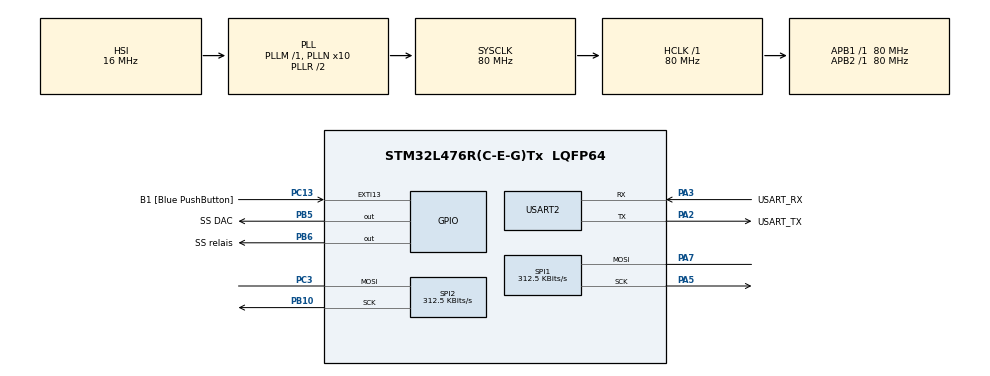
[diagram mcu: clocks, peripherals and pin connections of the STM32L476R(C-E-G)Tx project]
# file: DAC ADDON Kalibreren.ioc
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Dma.Request0=USART2_RX
Dma.USART2_RX.0.Direction=DMA_PERIPH_TO_MEMORY
Dma.USART2_RX.0.Instance=DMA1_Channel6
Dma.USART2_RX.0.MemDataAlignment=DMA_MDATAALIGN_BYTE
Dma.USART2_RX.0.MemInc=DMA_MINC_ENABLE
Dma.USART2_RX.0.Mode=DMA_NORMAL
Dma.USART2_RX.0.PeriphDataAlignment=DMA_PDATAALIGN_BYTE
Dma.USART2_RX.0.PeriphInc=DMA_PINC_DISABLE
Dma.USART2_RX.0.Priority=DMA_PRIORITY_LOW
Mcu.Family=STM32L4
Mcu.Name=STM32L476R(C-E-G)Tx
Mcu.Package=LQFP64
NVIC.DMA1_Channel6_IRQn=true\:0\:0\:false\:false\:true\:false\:true\:true
NVIC.PriorityGroup=NVIC_PRIORITYGROUP_4
NVIC.USART2_IRQn=true\:0\:0\:false\:false\:true\:true\:true\:true
PA13\ (JTMS-SWDIO).GPIO_Label=TMS
PA13\ (JTMS-SWDIO).Mode=Serial_Wire
PA13\ (JTMS-SWDIO).Signal=SYS_JTMS-SWDIO
PA14\ (JTCK-SWCLK).GPIO_Label=TCK
PA14\ (JTCK-SWCLK).Mode=Serial_Wire
PA14\ (JTCK-SWCLK).Signal=SYS_JTCK-SWCLK
PA2.GPIO_Label=USART_TX
PA2.GPIO_Mode=GPIO_MODE_AF_PP
PA2.GPIO_PuPd=GPIO_NOPULL
PA2.GPIO_Speed=GPIO_SPEED_FREQ_VERY_HIGH
PA2.Mode=Asynchronous
PA2.Signal=USART2_TX
PA3.GPIO_Label=USART_RX
PA3.GPIO_Mode=GPIO_MODE_AF_PP
PA3.GPIO_PuPd=GPIO_NOPULL
PA3.GPIO_Speed=GPIO_SPEED_FREQ_VERY_HIGH
PA3.Mode=Asynchronous
PA3.Signal=USART2_RX
PA5.Mode=Simplex_Bidirectional_Master
PA5.Signal=SPI1_SCK
PA7.Mode=Simplex_Bidirectional_Master
PA7.Signal=SPI1_MOSI
PB10.Mode=Simplex_Bidirectional_Master
PB10.Signal=SPI2_SCK
PB3\ (JTDO-TRACESWO).GPIO_Label=SWO
PB3\ (JTDO-TRACESWO).Signal=SYS_JTDO-SWO
PB5.GPIO_Label=SS DAC
PB5.PinState=GPIO_PIN_SET
PB5.Signal=GPIO_Output
PB6.GPIO_Label=SS relais
PB6.PinState=GPIO_PIN_SET
PB6.Signal=GPIO_Output
PC13.GPIO_Label=B1 [Blue PushButton]
PC13.GPIO_ModeDefaultEXTI=GPIO_MODE_IT_FALLING
PC13.GPIO_PuPd=GPIO_NOPULL
PC13.Signal=GPXTI13
PC14-OSC32_IN\ (PC14).Mode=LSE-External-Oscillator
PC14-OSC32_IN\ (PC14).Signal=RCC_OSC32_IN
PC15-OSC32_OUT\ (PC15).Mode=LSE-External-Oscillator
PC15-OSC32_OUT\ (PC15).Signal=RCC_OSC32_OUT
PC3.Mode=Simplex_Bidirectional_Master
PC3.Signal=SPI2_MOSI
PH0-OSC_IN\ (PH0).Signal=RCC_OSC_IN
PH1-OSC_OUT\ (PH1).Signal=RCC_OSC_OUT
ProjectManager.HeapSize=0x200
ProjectManager.StackSize=0x400
ProjectManager.TargetToolchain=STM32CubeIDE
RCC.ADCFreq_Value=64000000
RCC.AHBFreq_Value=80000000
RCC.APB1Freq_Value=80000000
RCC.APB1TimFreq_Value=80000000
RCC.APB2Freq_Value=80000000
RCC.APB2TimFreq_Value=80000000
RCC.CortexFreq_Value=80000000
RCC.HCLKFreq_Value=80000000
RCC.HSE_VALUE=8000000
RCC.HSI_VALUE=16000000
RCC.MSI_VALUE=4000000
RCC.PLLN=10
RCC.PLLSourceVirtual=RCC_PLLSOURCE_HSI
RCC.PREFETCH_ENABLE=1
RCC.SYSCLKFreq_VALUE=80000000
RCC.SYSCLKSource=RCC_SYSCLKSOURCE_PLLCLK
RCC.USBFreq_Value=64000000
RCC.VCOOutputFreq_Value=160000000
SPI1.BaudRatePrescaler=SPI_BAUDRATEPRESCALER_256
SPI1.CalculateBaudRate=312.5 KBits/s
SPI1.DataSize=SPI_DATASIZE_8BIT
SPI1.Direction=SPI_DIRECTION_1LINE
SPI1.Mode=SPI_MODE_MASTER
SPI1.VirtualType=VM_MASTER
SPI2.BaudRatePrescaler=SPI_BAUDRATEPRESCALER_256
SPI2.CLKPolarity=SPI_POLARITY_HIGH
SPI2.CalculateBaudRate=312.5 KBits/s
SPI2.DataSize=SPI_DATASIZE_8BIT
SPI2.Direction=SPI_DIRECTION_1LINE
SPI2.Mode=SPI_MODE_MASTER
SPI2.VirtualType=VM_MASTER
USART2.VirtualMode-Asynchronous=VM_ASYNC
board=NUCLEO-L476RG

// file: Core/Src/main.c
/* USER CODE BEGIN Header */
/**
  ******************************************************************************
  * @file           : main.c
  * @brief          : Main program body
  ******************************************************************************
  * @attention
  *
  * Copyright (c) 2024 STMicroelectronics.
  * All rights reserved.
  *
  * This software is licensed under terms that can be found in the LICENSE file
  * in the root directory of this software component.
  * If no LICENSE file comes with this software, it is provided AS-IS.
  *
  ******************************************************************************
  */
/* USER CODE END Header */
#include "main.h"

/* USER CODE BEGIN Includes */
#include "string.h"
#include "math.h"
/* USER CODE END Includes */

/* USER CODE BEGIN PD */
#define MAX4820_CS_PIN    GPIO_PIN_6   // De GPIO pin die verbonden is met CS
#define MAX4820_CS_PORT   GPIOB        // De GPIO poort die verbonden is met CS

#define DAC_SS_Pin GPIO_PIN_5
#define DAC_SS_Port GPIOB

HAL_StatusTypeDef status;

//Registers adres definitie van de DAC80501
#define ADDR_NOOP_register 0x00 //No operation, Hex 0x00
#define ADDR_DEVID_register 0x01 //Device identification, Hex 0x01
#define ADDR_SYNC_register 0x02 //Synchronisation, Hex 0x02
#define ADDR_CONFIG_register 0x03 //Configuration, Hex 0x03
#define ADDR_GAIN_register 0x04 //Gain, Hex 0x04
#define ADDR_TRIGGER_register 0x05 //Trigger, Hex 0x05
#define ADDR_STATUS_register 0x07 //Status, Hex 0x07
#define ADDR_DAC_DATA_register 0x08 //Digital-to-analog converter, Hex 0x08

//Register Data van de DAC80501
#define DATA_NOOP 0x0000
	//#define DATA_DEVID_register 0b0000 0001 0001 0101, kan worden uitgelezen
#define DATA_SYNC_register 0x0000
//#define DATA_CONFIG_register 0x0101 //disabling internal reference & power-down mode
//#define DATA_GAIN_register 0x00 //referencespanning delen door 1 & gain op 1 zetten
#define DATA_TRIGGER_register 0x000A //dit reset de dac  & zet de dac in asynchronous mode(default)
	//#define DATA_STATUS_register 0x01 geeft aan of DAC wordt uitgeschakeld, 0x00 geeft aan dat dac is ingeschakeld
#define DAC80501_SPI_TIMEOUT 100

//#define DATA_CONFIG_register 0b0000000100000000 //disabling internal reference & power-down mode
//#define DATA_GAIN_register 0x00 //referencespanning delen door 1 & gain op 1 zetten
#define DATA_CONFIG_register 0x0000 //enabling internal reference & dis power-down mode
#define DATA_GAIN_register 0x0001 //referencespanning delen door 1 & gain op 2 zetten

#define RxBuf_SIZE 10 //16 bits geeft waarde van 0 tm 65535, dus maximaal 5 decimalen
#define MainBuf_SIZE 10
HAL_StatusTypeDef status;
/* USER CODE END PD */

SPI_HandleTypeDef hspi1;
SPI_HandleTypeDef hspi2;

UART_HandleTypeDef huart2;
DMA_HandleTypeDef hdma_usart2_rx;

/* USER CODE BEGIN PV */
uint8_t RxBuf[RxBuf_SIZE];
uint8_t MainBuf[MainBuf_SIZE];
char TxBuf[RxBuf_SIZE];
char String[] = "12345";
uint32_t convertedString;
uint16_t calData16bits;
uint32_t calData32bits;
uint8_t Select5V60V;
/* USER CODE END PV */

void SystemClock_Config(void);
static void MX_GPIO_Init(void);
static void MX_DMA_Init(void);
static void MX_USART2_UART_Init(void);
static void MX_SPI1_Init(void);
static void MX_SPI2_Init(void);
/* USER CODE BEGIN PFP */
void MAX4820_Select(void)
{
    HAL_GPIO_WritePin(MAX4820_CS_PORT, MAX4820_CS_PIN, GPIO_PIN_RESET); // CS low
}
void MAX4820_Deselect(void)
{
    HAL_GPIO_WritePin(MAX4820_CS_PORT, MAX4820_CS_PIN, GPIO_PIN_SET);   // CS high
}

void MAX4820_SendData(uint8_t data)
{
	uint8_t txData[1];
	txData[0] = data;

    MAX4820_Select();  // Activeren van CS
    HAL_SPI_Transmit(&hspi1, txData, 1, HAL_MAX_DELAY);  // Verzenden van 8 bits data
    MAX4820_Deselect();  // Deactiveren van CS
}

void MAX4820_60V_pos(void)
{
	MAX4820_SendData(0b00000101); //dec:5
//	HAL_Delay(500);
}
void MAX4820_60V_neg(void)
{
	MAX4820_SendData(0b00001001); //dec: 9
//	HAL_Delay(500);
}
void MAX4820_5V_pos(void)
{
	MAX4820_SendData(0b00000110); //dec: 6
}
void MAX4820_5V_neg(void)
{
	MAX4820_SendData(0b00001010); //dec: 10
}
HAL_StatusTypeDef DAC80501DataVoltage5V(uint16_t voltage_mV)  //data(getal) moet in mV zijn van 0 tot 5000mV
{

	if(convertedString == 100002){
				 MAX4820_5V_pos();
			} else if(convertedString == 100004){
				MAX4820_5V_neg();
			}
	//Zorgen dat spanning tussen 0-5000mV zit
	if(voltage_mV > 5000){ //Houdt de spanning onder de 5000mV
		voltage_mV = 0;
	}
	if(voltage_mV < 0){ //Houdt de spanning boven de 0mV. Werkt niet goed vanwerge unsigned naar signed conversion bij functie aanroep
		voltage_mV = 0;
	}

    HAL_StatusTypeDef status;
    uint16_t convertedDataVoltage = (uint16_t)(((uint32_t)voltage_mV * 65535) / 5000); // 0-5000mV omzetten naar 16 bits waarde die naar de dac gestuurd kan worden. gebruik gehele getallen
    uint8_t txData[3];

    // Stel het adres en de data in voor het trigger-register van de DAC80501
    txData[0] = ADDR_DAC_DATA_register;                     // Registeradres
    txData[1] = (convertedDataVoltage >> 8 ) & 0xFF;      // MSB van de 16-bits data
    txData[2] = (convertedDataVoltage & 0xFF);              // LSB van de 16-bits data

    // Zet de Chip Select (CS/SS) lijn laag om SPI-communicatie te starten
    HAL_GPIO_WritePin(DAC_SS_Port, DAC_SS_Pin, GPIO_PIN_RESET);

    // Verzend de 24-bits data via SPI
    status = HAL_SPI_Transmit(&hspi2, txData, 3, DAC80501_SPI_TIMEOUT);

    // Zet de Chip Select (CS/SS) lijn hoog om SPI-communicatie te beëindigen
    HAL_GPIO_WritePin(DAC_SS_Port, DAC_SS_Pin, GPIO_PIN_SET);

    // Retourneer de status van de SPI-communicatie (HAL_OK of foutcode)
    return status;
}

HAL_StatusTypeDef DAC80501DataVoltage60V(uint16_t voltage_mV)  //data(getal) moet in mV zijn van 0 tot 60000mV
{

	//Zorgen dat spanning tussen 0-5000mV zit
	if(voltage_mV > 60000){ //Houdt de spanning onder de 5000mV
		voltage_mV = 60000;
	}
	if(voltage_mV < 0){ //Houdt de spanning boven de 0mV. Werkt niet goed vanwerge unsigned naar signed conversion bij functie aanroep
		voltage_mV = 0;
	}

    HAL_StatusTypeDef status;
    uint16_t convertedDataVoltage = (uint16_t)(((uint32_t)voltage_mV * 65535) / (5000*12)); // 0-60000mV omzetten naar 16 bits waarde die naar de dac gestuurd kan worden. gebruik gehele getallen
    uint8_t txData[3];

    // Stel het adres en de data in voor het trigger-register van de DAC80501
    txData[0] = ADDR_DAC_DATA_register;                     // Registeradres
    txData[1] = (convertedDataVoltage >> 8 ) & 0xFF;      // MSB van de 16-bits data
    txData[2] = (convertedDataVoltage & 0xFF);              // LSB van de 16-bits data

    // Zet de Chip Select (CS/SS) lijn laag om SPI-communicatie te starten
    HAL_GPIO_WritePin(DAC_SS_Port, DAC_SS_Pin, GPIO_PIN_RESET);

    // Verzend de 24-bits data via SPI
    status = HAL_SPI_Transmit(&hspi2, txData, 3, DAC80501_SPI_TIMEOUT);

    // Zet de Chip Select (CS/SS) lijn hoog om SPI-communicatie te beëindigen
    HAL_GPIO_WritePin(DAC_SS_Port, DAC_SS_Pin, GPIO_PIN_SET);

    // Retourneer de status van de SPI-communicatie (HAL_OK of foutcode)
    return status;
}

HAL_StatusTypeDef CalibratedDAC80501DataVoltage60V(uint32_t voltage_mV)  //data(getal) moet in mV zijn van 0 tot 60000mV
{
	if(convertedString == 100001){
			 MAX4820_60V_pos();
		} else if(convertedString == 100003){
			MAX4820_60V_neg();
		}
	//Zorgen dat spanning tussen 0-60000mV zit
	if(voltage_mV > 60000){ //Houdt de spanning onder de 5000mV
		voltage_mV = 0;
	}
	if(voltage_mV < 0){ //Houdt de spanning boven de 0mV. Werkt niet goed vanwerge unsigned naar signed conversion bij functie aanroep
		voltage_mV = 0;
	}

    HAL_StatusTypeDef status;
    uint16_t convertedDataVoltage = (uint16_t)(((uint32_t)voltage_mV * 65535) / (5000*12)); // 0-60000mV omzetten naar 16 bits waarde die naar de dac gestuurd kan worden. gebruik gehele getallen

    calData32bits = (uint32_t)(float)(( 0.9205486)*convertedDataVoltage );
    if(calData32bits > 65535){ //Houdt de spanning onder de 5000mV
    	calData16bits = 65535;
          } else {
        	  calData16bits = calData32bits;
          }
    uint8_t txData[3];

//    0.9205486*x - 0.8901536

    // Stel het adres en de data in voor het trigger-register van de DAC80501
    txData[0] = ADDR_DAC_DATA_register;                     // Registeradres
    txData[1] = (calData16bits >> 8 ) & 0xFF;      // MSB van de 16-bits data
    txData[2] = (calData16bits & 0xFF);              // LSB van de 16-bits data

    // Zet de Chip Select (CS/SS) lijn laag om SPI-communicatie te starten
    HAL_GPIO_WritePin(DAC_SS_Port, DAC_SS_Pin, GPIO_PIN_RESET);

    // Verzend de 24-bits data via SPI
    status = HAL_SPI_Transmit(&hspi2, txData, 3, DAC80501_SPI_TIMEOUT);

    // Zet de Chip Select (CS/SS) lijn hoog om SPI-communicatie te beëindigen
    HAL_GPIO_WritePin(DAC_SS_Port, DAC_SS_Pin, GPIO_PIN_SET);

    // Retourneer de status van de SPI-communicatie (HAL_OK of foutcode)
    return status;
}
/* USER CODE END PFP */

/* USER CODE BEGIN 0 */
void HAL_UARTEx_RxEventCallback(UART_HandleTypeDef *huart, uint16_t Size){

	if(huart->Instance == USART2){
		memcpy(MainBuf, RxBuf, Size);
		HAL_UARTEx_ReceiveToIdle_DMA(&huart2, RxBuf, RxBuf_SIZE);
		__HAL_DMA_DISABLE_IT(&hdma_usart2_rx, DMA_IT_HT);
	}

	HAL_UART_Transmit(&huart2, MainBuf, Size, 1000);
	convertedString = (uint32_t)atoi((char* )RxBuf);

	//DAC80501DataVoltage60V(convertedString);
	if(convertedString == 100001 || convertedString == 100003) { Select5V60V = 1;}
	if(Select5V60V == 1){CalibratedDAC80501DataVoltage60V(convertedString);}
//	if(convertedString == 100001 || convertedString == 100003) { Select5V60V = 1;}
//	if(Select5V60V == 1){DAC80501DataVoltage60V(convertedString);}

	if(convertedString == 100002 || convertedString == 100004) { Select5V60V = 0;}
	if(Select5V60V == 0){DAC80501DataVoltage5V(convertedString);(convertedString);}

	//DAC80501DataVoltage5V(convertedString);
	memset(RxBuf,0,strlen(RxBuf));

}

/* USER CODE END 0 */

int main(void)
{

  /* MCU Configuration--------------------------------------------------------*/

  /* Reset of all peripherals, Initializes the Flash interface and the Systick. */
  HAL_Init();

  /* Configure the system clock */
  SystemClock_Config();

  /* Initialize all configured peripherals */
  MX_GPIO_Init();
  MX_DMA_Init();
  MX_USART2_UART_Init();
  MX_SPI1_Init();
  MX_SPI2_Init();
  /* USER CODE BEGIN 2 */
  HAL_UARTEx_ReceiveToIdle_DMA(&huart2, RxBuf, RxBuf_SIZE);
    __HAL_DMA_DISABLE_IT(&hdma_usart2_rx, DMA_IT_HT);

//    MAX4820_60V_pos();
//    MAX4820_5V_pos();
//  MAX4820_SendData(0b00000000);
  /* USER CODE END 2 */

  /* Infinite loop */
  while (1)
  {
//	  MAX4820_60V_pos();
//	  HAL_Delay(5000);
//	  MAX4820_60V_neg();
//	  HAL_Delay(5000);
  }
}

void SystemClock_Config(void)
{
  RCC_OscInitTypeDef RCC_OscInitStruct = {0};
  RCC_ClkInitTypeDef RCC_ClkInitStruct = {0};

  /** Configure the main internal regulator output voltage
  */
  if (HAL_PWREx_ControlVoltageScaling(PWR_REGULATOR_VOLTAGE_SCALE1) != HAL_OK)
  {
    Error_Handler();
  }

  /** Initializes the RCC Oscillators according to the specified parameters
  * in the RCC_OscInitTypeDef structure.
  */
  RCC_OscInitStruct.OscillatorType = RCC_OSCILLATORTYPE_HSI;
  RCC_OscInitStruct.HSIState = RCC_HSI_ON;
  RCC_OscInitStruct.HSICalibrationValue = RCC_HSICALIBRATION_DEFAULT;
  RCC_OscInitStruct.PLL.PLLState = RCC_PLL_ON;
  RCC_OscInitStruct.PLL.PLLSource = RCC_PLLSOURCE_HSI;
  RCC_OscInitStruct.PLL.PLLM = 1;
  RCC_OscInitStruct.PLL.PLLN = 10;
  RCC_OscInitStruct.PLL.PLLP = RCC_PLLP_DIV7;
  RCC_OscInitStruct.PLL.PLLQ = RCC_PLLQ_DIV2;
  RCC_OscInitStruct.PLL.PLLR = RCC_PLLR_DIV2;
  if (HAL_RCC_OscConfig(&RCC_OscInitStruct) != HAL_OK)
  {
    Error_Handler();
  }

  /** Initializes the CPU, AHB and APB buses clocks
  */
  RCC_ClkInitStruct.ClockType = RCC_CLOCKTYPE_HCLK|RCC_CLOCKTYPE_SYSCLK
                              |RCC_CLOCKTYPE_PCLK1|RCC_CLOCKTYPE_PCLK2;
  RCC_ClkInitStruct.SYSCLKSource = RCC_SYSCLKSOURCE_PLLCLK;
  RCC_ClkInitStruct.AHBCLKDivider = RCC_SYSCLK_DIV1;
  RCC_ClkInitStruct.APB1CLKDivider = RCC_HCLK_DIV1;
  RCC_ClkInitStruct.APB2CLKDivider = RCC_HCLK_DIV1;

  if (HAL_RCC_ClockConfig(&RCC_ClkInitStruct, FLASH_LATENCY_4) != HAL_OK)
  {
    Error_Handler();
  }
}

static void MX_SPI1_Init(void)
{

  /* SPI1 parameter configuration*/
  hspi1.Instance = SPI1;
  hspi1.Init.Mode = SPI_MODE_MASTER;
  hspi1.Init.Direction = SPI_DIRECTION_1LINE;
  hspi1.Init.DataSize = SPI_DATASIZE_8BIT;
  hspi1.Init.CLKPolarity = SPI_POLARITY_LOW;
  hspi1.Init.CLKPhase = SPI_PHASE_1EDGE;
  hspi1.Init.NSS = SPI_NSS_SOFT;
  hspi1.Init.BaudRatePrescaler = SPI_BAUDRATEPRESCALER_256;
  hspi1.Init.FirstBit = SPI_FIRSTBIT_MSB;
  hspi1.Init.TIMode = SPI_TIMODE_DISABLE;
  hspi1.Init.CRCCalculation = SPI_CRCCALCULATION_DISABLE;
  hspi1.Init.CRCPolynomial = 7;
  hspi1.Init.CRCLength = SPI_CRC_LENGTH_DATASIZE;
  hspi1.Init.NSSPMode = SPI_NSS_PULSE_ENABLE;
  if (HAL_SPI_Init(&hspi1) != HAL_OK)
  {
    Error_Handler();
  }

}

static void MX_SPI2_Init(void)
{

  /* SPI2 parameter configuration*/
  hspi2.Instance = SPI2;
  hspi2.Init.Mode = SPI_MODE_MASTER;
  hspi2.Init.Direction = SPI_DIRECTION_1LINE;
  hspi2.Init.DataSize = SPI_DATASIZE_8BIT;
  hspi2.Init.CLKPolarity = SPI_POLARITY_HIGH;
  hspi2.Init.CLKPhase = SPI_PHASE_1EDGE;
  hspi2.Init.NSS = SPI_NSS_SOFT;
  hspi2.Init.BaudRatePrescaler = SPI_BAUDRATEPRESCALER_256;
  hspi2.Init.FirstBit = SPI_FIRSTBIT_MSB;
  hspi2.Init.TIMode = SPI_TIMODE_DISABLE;
  hspi2.Init.CRCCalculation = SPI_CRCCALCULATION_DISABLE;
  hspi2.Init.CRCPolynomial = 7;
  hspi2.Init.CRCLength = SPI_CRC_LENGTH_DATASIZE;
  hspi2.Init.NSSPMode = SPI_NSS_PULSE_ENABLE;
  if (HAL_SPI_Init(&hspi2) != HAL_OK)
  {
    Error_Handler();
  }
  /* USER CODE BEGIN SPI2_Init 2 */
  //Deze code wordt gebruikt om de CPOL initial value op 1 te zetten. verander alleen de GPIO_InitStruct.Pin pin & HAL_GPIO_Init(GPIOA, &GPIO_InitStruct); poort
    GPIO_InitTypeDef GPIO_InitStruct = {0};
         GPIO_InitStruct.Pin = GPIO_PIN_10; // GPIOD Pin 1 is the SPI2_CLK
         GPIO_InitStruct.Mode = GPIO_MODE_AF_PP;
         if (hspi2.Init.CLKPolarity==SPI_POLARITY_HIGH) {
           GPIO_InitStruct.Pull = GPIO_PULLUP;
         } else {
           GPIO_InitStruct.Pull = GPIO_PULLDOWN;
         }
         GPIO_InitStruct.Speed = GPIO_SPEED_FREQ_VERY_HIGH;
         GPIO_InitStruct.Alternate = GPIO_AF5_SPI1;
         HAL_GPIO_Init(GPIOB, &GPIO_InitStruct);
         HAL_Delay(1);
  /* USER CODE END SPI2_Init 2 */

}

static void MX_USART2_UART_Init(void)
{

  huart2.Instance = USART2;
  huart2.Init.BaudRate = 115200;
  huart2.Init.WordLength = UART_WORDLENGTH_8B;
  huart2.Init.StopBits = UART_STOPBITS_1;
  huart2.Init.Parity = UART_PARITY_NONE;
  huart2.Init.Mode = UART_MODE_TX_RX;
  huart2.Init.HwFlowCtl = UART_HWCONTROL_NONE;
  huart2.Init.OverSampling = UART_OVERSAMPLING_16;
  huart2.Init.OneBitSampling = UART_ONE_BIT_SAMPLE_DISABLE;
  huart2.AdvancedInit.AdvFeatureInit = UART_ADVFEATURE_NO_INIT;
  if (HAL_UART_Init(&huart2) != HAL_OK)
  {
    Error_Handler();
  }

}

static void MX_DMA_Init(void)
{

  /* DMA controller clock enable */
  __HAL_RCC_DMA1_CLK_ENABLE();

  /* DMA interrupt init */
  /* DMA1_Channel6_IRQn interrupt configuration */
  HAL_NVIC_SetPriority(DMA1_Channel6_IRQn, 0, 0);
  HAL_NVIC_EnableIRQ(DMA1_Channel6_IRQn);

}

static void MX_GPIO_Init(void)
{
  GPIO_InitTypeDef GPIO_InitStruct = {0};

  /* GPIO Ports Clock Enable */
  __HAL_RCC_GPIOC_CLK_ENABLE();
  __HAL_RCC_GPIOH_CLK_ENABLE();
  __HAL_RCC_GPIOA_CLK_ENABLE();
  __HAL_RCC_GPIOB_CLK_ENABLE();

  /*Configure GPIO pin Output Level */
  HAL_GPIO_WritePin(GPIOB, SS_DAC_Pin|SS_relais_Pin, GPIO_PIN_SET);

  /*Configure GPIO pin : B1_Pin */
  GPIO_InitStruct.Pin = B1_Pin;
  GPIO_InitStruct.Mode = GPIO_MODE_IT_FALLING;
  GPIO_InitStruct.Pull = GPIO_NOPULL;
  HAL_GPIO_Init(B1_GPIO_Port, &GPIO_InitStruct);

  /*Configure GPIO pins : SS_DAC_Pin SS_relais_Pin */
  GPIO_InitStruct.Pin = SS_DAC_Pin|SS_relais_Pin;
  GPIO_InitStruct.Mode = GPIO_MODE_OUTPUT_PP;
  GPIO_InitStruct.Pull = GPIO_NOPULL;
  GPIO_InitStruct.Speed = GPIO_SPEED_FREQ_LOW;
  HAL_GPIO_Init(GPIOB, &GPIO_InitStruct);

}

void Error_Handler(void)
{
  __disable_irq();
  while (1)
  {
  }
}
